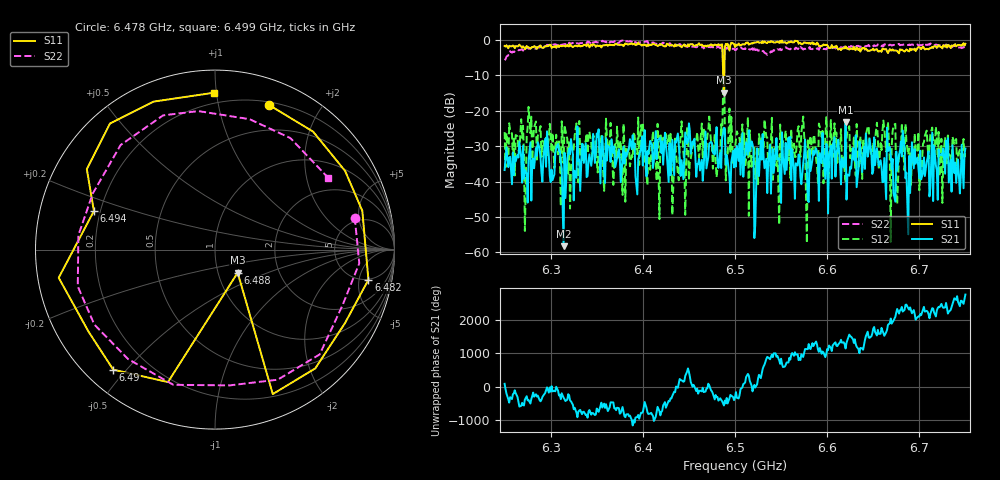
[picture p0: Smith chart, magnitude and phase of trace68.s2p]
# Hz S RI R 50
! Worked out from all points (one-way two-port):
!   401 points, 6.25 GHz to 6.75 GHz, reference 50 ohm
!   highest |S21| = -23.25 dB at 6.62 GHz (marker M1); lowest = -58.2 dB at 6.314 GHz (marker M2)
!   lowest |S11| = -14.9 dB at 6.488 GHz (marker M3), VSWR 1.44, Z = 62 - j16.5 ohm
!   |S11| at or under -10 dB: 6.487284 GHz to 6.488383 GHz (1.098 MHz wide, 0.0169 % of centre)
!   |S22| runs from -5.7 to -0.1 dB; largest |S21 - S12| = 0.72
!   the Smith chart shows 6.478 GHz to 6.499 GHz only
!   S11 on the Smith chart (normalised r, x): 6.478 GHz: 0.23, +1.41; 6.482 GHz: 4.88, -6.81; 6.488 GHz: 1.24, -0.33; 6.49 GHz: 0.08, -0.46; 6.494 GHz: 0.17, +0.15; 6.499 GHz: 0.13, +0.98
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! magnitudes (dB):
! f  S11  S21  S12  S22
! 6.25 GHz  -1.7  -36.7  -26.0  -5.7
! 6.308 GHz  -1.5  -29.4  -32.3  -1.6
! 6.314 GHz  -1.6  -58.2  -34.7  -1.2
! 6.334 GHz  -1.7  -29.3  -33.9  -0.9
! 6.418 GHz  -1.4  -27.8  -50.6  -1.1
! 6.478 GHz  -1.3  -32.4  -26.5  -2.0
! 6.482 GHz  -1.2  -36.1  -34.3  -1.9
! 6.488 GHz  -14.9  -24.8  -2.6  -2.0
! 6.49 GHz  -1.1  -35.2  -39.7  -2.3
! 6.494 GHz  -3.0  -38.8  -19.4  -1.9
! 6.499 GHz  -1.2  -36.0  -35.7  -2.5
! 6.5 GHz  -2.0  -30.8  -30.6  -2.8
! 6.518 GHz  -0.9  -28.6  -35.8  -2.5
! 6.524 GHz  -0.6  -30.6  -31.0  -2.7
! 6.53 GHz  -0.4  -26.6  -27.3  -3.2
! 6.545 GHz  -0.5  -27.7  -35.6  -2.9
! 6.584 GHz  -0.6  -33.8  -32.8  -2.6
! 6.62 GHz  -1.8  -23.2  -40.3  -1.9
! 6.664 GHz  -2.6  -45.0  -31.5  -1.2
! 6.668 GHz  -2.6  -30.3  -33.9  -1.4
! 6.688 GHz  -3.1  -54.9  -32.4  -1.4
! 6.75 GHz  -1.1  -30.7  -31.5  -2.5
